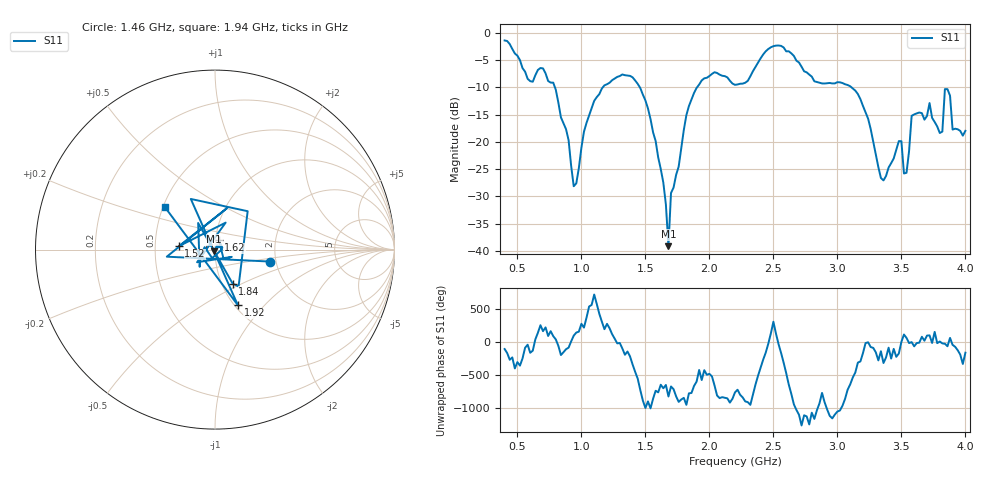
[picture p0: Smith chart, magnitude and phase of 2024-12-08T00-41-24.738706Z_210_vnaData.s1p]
!Created with skrf (http://scikit-rf.org).
# Hz S RI R 50.0
!freq ReS11 ImS11
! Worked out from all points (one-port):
!   181 points, 400 MHz to 4 GHz, reference 50 ohm
!   lowest |S11| = -39.1 dB at 1.68 GHz (marker M1), VSWR 1.02, Z = 49.6 - j1.02 ohm
!   |S11| at or under -10 dB: 793.2 MHz to 1.167 GHz (373.9 MHz wide, 38.1 % of centre); 1.457 GHz to 1.903 GHz (446.3 MHz wide, 26.6 % of centre); 3.11 GHz to end of sweep
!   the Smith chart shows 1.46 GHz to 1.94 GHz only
!   S11 on the Smith chart (normalised r, x): 1.46 GHz: 1.85, -0.27; 1.52 GHz: 0.66, +0.03; 1.62 GHz: 1.04, +0.11; 1.84 GHz: 1.12, -0.45; 1.92 GHz: 1.04, -0.72; 1.94 GHz: 0.51, +0.28
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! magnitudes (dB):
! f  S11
! 400 MHz  -1.4
! 780 MHz  -9.1
! 860 MHz  -16.6
! 940 MHz  -28.1
! 1.1 GHz  -12.5
! 1.3 GHz  -7.9
! 1.46 GHz  -10.1
! 1.52 GHz  -13.9
! 1.62 GHz  -25.0
! 1.68 GHz  -39.1
! 1.7 GHz  -29.4
! 1.76 GHz  -24.5
! 1.84 GHz  -13.4
! 1.92 GHz  -9.5
! 1.94 GHz  -8.7
! 2.2 GHz  -9.5
! 2.66 GHz  -4.2
! 3.1 GHz  -9.8
! 3.24 GHz  -15.8
! 3.34 GHz  -26.6
! 3.56 GHz  -21.7
! 3.58 GHz  -15.2
! 3.72 GHz  -12.9
! 3.82 GHz  -18.1
! 3.84 GHz  -10.3
! 3.88 GHz  -11.5
! 3.9 GHz  -17.8
! 4 GHz  -18.0
